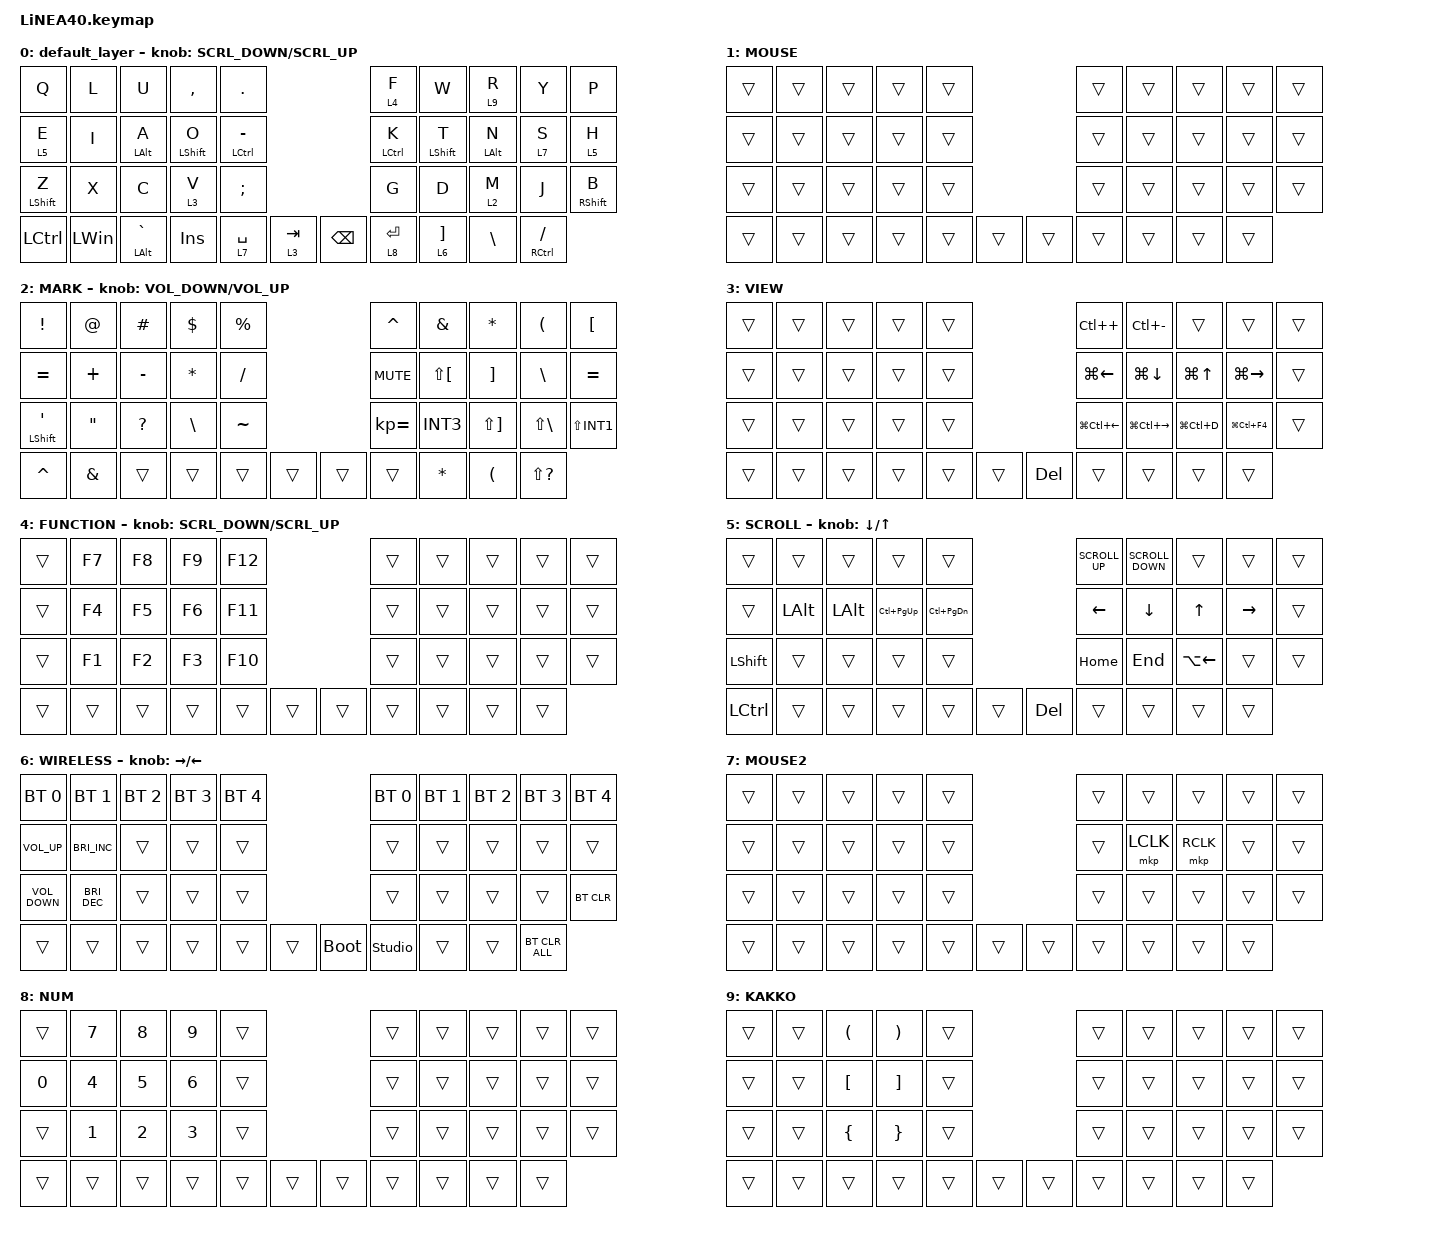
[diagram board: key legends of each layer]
#define ZMK_POINTING_DEFAULT_SCRL_VAL 150

#include <dt-bindings/zmk/input_transform.h>
#include <input/processors.dtsi>
#include <zephyr/dt-bindings/input/input-event-codes.h>
#include <behaviors.dtsi>
#include <dt-bindings/zmk/bt.h>
#include <dt-bindings/zmk/keys.h>
#include <dt-bindings/zmk/pointing.h>

#define MOUSE 1
#define MARK 2
#define CURSOR 3
#define FUNCTION 4
#define SCROLL 5
#define WIRELESS 6

//mouse cursol

&mmv {
    delay-ms = <20>;
    trigger-period-ms = <5>;
    time-to-max-speed-ms = <100>;
    acceleration-exponent = <2>;
};

//mouse scroll

&msc {
    delay-ms = <3>;
    trigger-period-ms = <3>;
    time-to-max-speed-ms = <100>;
    acceleration-exponent = <0>;
};

/ {
    input_processors {
        zip_wheel_scaler: zip_wheel_scaler {
            compatible = "zmk,input-processor-scaler";
            #input-processor-cells = <2>;
            type = <INPUT_EV_REL>;
            codes = <INPUT_REL_WHEEL>;
            track-remainders;
        };
    };
};

&msc_input_listener {
    speed_up {
        layers = <FUNCTION>;
        input-processors = <&zip_wheel_scaler 3 1>; //スクロールを3倍速にする
    };
};

&trackball_listener {
    scroller {
        layers = <SCROLL>;
        input-processors =
            <&zip_xy_transform INPUT_TRANSFORM_Y_INVERT>,
            //スクロール方向を逆転,,,,,,,,,,,,,
            <&zip_xy_to_scroll_mapper>;
    };
};

/ {
    combos {
        compatible = "zmk,combos";

        ZenkakuHankaku {
            bindings = <&kp LANG2>;
            key-positions = <3 2>;
        };

        zenkaku {
            bindings = <&kp LANG1>;
            key-positions = <7 6>;
        };

        esc {
            bindings = <&kp ESCAPE>;
            key-positions = <0 1>;
        };

        leftClick {
            bindings = <&mkp LCLK>;
            key-positions = <17 16>;
        };

        RightClick {
            bindings = <&mkp MB2>;
            key-positions = <18 17>;
        };

        PrevClick {
            bindings = <&mkp MB4>;
            key-positions = <27 28>;
        };

        ClickNext {
            bindings = <&mkp MB5>;
            key-positions = <26 27>;
        };
    };

    behaviors {
        re_kp: sensor_rotate_kp {
            compatible = "zmk,behavior-sensor-rotate-var";
            #sensor-binding-cells = <2>;
            bindings = <&kp>, <&kp>;
        };

        mouse_scrl: mouse_wheel_scrl {
            compatible = "zmk,behavior-sensor-rotate-var";
            #sensor-binding-cells = <2>;
            bindings = <&msc>, <&msc>;

            tap-ms = <20>;
        };

        layer_tap_ori: layer_tap_ori {
            compatible = "zmk,behavior-hold-tap";
            label = "LAYER_TAP_ORI";
            bindings = <&mo>, <&kp>;

            #binding-cells = <2>;
            flavor = "tap-preferred";
            tapping-term-ms = <200>;
        };

        mod_top_ori: mod_top_ori {
            compatible = "zmk,behavior-hold-tap";
            label = "MOD_TOP_ORI";
            bindings = <&kp>, <&kp>;

            #binding-cells = <2>;
            flavor = "tap-preferred";
            tapping-term-ms = <200>;
        };
    };

    keymap {
        compatible = "zmk,keymap";

        default_layer {
            bindings = <
&kp Q                      &kp L         &kp U                    &kp COMMA                  &kp PERIOD                                                   &layer_tap_ori 4 F           &kp W                      &layer_tap_ori 9 R       &kp Y               &kp P
&layer_tap_ori 5 E         &kp I         &mod_top_ori LEFT_ALT A  &mod_top_ori LEFT_SHIFT O  &mod_top_ori LEFT_CONTROL MINUS                              &mod_top_ori LEFT_CONTROL K  &mod_top_ori LEFT_SHIFT T  &mod_top_ori LEFT_ALT N  &layer_tap_ori 7 S  &layer_tap_ori 5 H
&mod_top_ori LEFT_SHIFT Z  &kp X         &kp C                    &layer_tap_ori 3 V         &kp SEMICOLON                                                &kp G                        &kp D                      &layer_tap_ori 2 M       &kp J               &mod_top_ori RIGHT_SHIFT B
&kp LCTRL                  &kp LEFT_WIN  &mt LEFT_ALT GRAVE       &kp INS                    &layer_tap_ori 7 SPACE           &lt 3 TAB    &kp BACKSPACE  &layer_tap_ori 8 ENTER                                  &lt 6 RIGHT_BRACKET      &kp BACKSLASH       &mod_top_ori RIGHT_CONTROL SLASH
            >;

            sensor-bindings = <&mouse_scrl SCRL_DOWN SCRL_UP>;
        };

        //1

        MOUSE {
            bindings = <
&trans  &trans  &trans  &trans  &trans                    &trans  &trans  &trans  &trans  &trans
&trans  &trans  &trans  &trans  &trans                    &trans  &trans  &trans  &trans  &trans
&trans  &trans  &trans  &trans  &trans                    &trans  &trans  &trans  &trans  &trans
&trans  &trans  &trans  &trans  &trans  &trans    &trans  &trans          &trans  &trans  &trans
            >;
        };

        //2

        MARK {
            bindings = <
&kp EXCLAMATION     &kp AT             &kp HASH      &kp DOLLAR     &kp PERCENT                    &kp CARET     &kp AMPERSAND  &kp ASTERISK           &kp LEFT_PARENTHESIS  &kp LBKT
&kp EQUAL           &kp PLUS           &kp MINUS     &kp ASTRK      &kp SLASH                      &kp C_MUTE    &kp LS(LBKT)   &kp RIGHT_BRACKET      &kp BACKSLASH         &kp EQUAL
&mt LEFT_SHIFT SQT  &kp DOUBLE_QUOTES  &kp QUESTION  &kp BACKSLASH  &kp TILDE                      &kp KP_EQUAL  &kp INT3       &kp LS(RIGHT_BRACKET)  &kp LS(BACKSLASH)     &kp LS(INT1)
&kp CARET           &kp AMPERSAND      &trans        &trans         &trans       &trans    &trans  &trans                       &kp ASTERISK           &kp LEFT_PARENTHESIS  &kp LS(QUESTION)
            >;

            sensor-bindings = <&re_kp C_VOLUME_DOWN C_VOLUME_UP>;
        };

        //3

        VIEW {
            bindings = <
&trans  &trans  &trans  &trans  &trans                     &kp LC(PLUS)            &kp LC(MINUS)            &trans            &trans               &trans
&trans  &trans  &trans  &trans  &trans                     &kp LG(LEFT_ARROW)      &kp LG(DOWN_ARROW)       &kp LG(UP_ARROW)  &kp LG(RIGHT_ARROW)  &trans
&trans  &trans  &trans  &trans  &trans                     &kp LG(LC(LEFT_ARROW))  &kp LG(LC(RIGHT_ARROW))  &kp LG(LC(D))     &kp LG(LC(F4))       &trans
&trans  &trans  &trans  &trans  &trans  &trans    &kp DEL  &trans                                           &trans            &trans               &trans
            >;
        };

        //4

        FUNCTION {
            bindings = <
&trans  &kp F7  &kp F8  &kp F9  &kp F12                    &trans  &trans  &trans  &trans  &trans
&trans  &kp F4  &kp F5  &kp F6  &kp F11                    &trans  &trans  &trans  &trans  &trans
&trans  &kp F1  &kp F2  &kp F3  &kp F10                    &trans  &trans  &trans  &trans  &trans
&trans  &trans  &trans  &trans  &trans   &trans    &trans  &trans          &trans  &trans  &trans
            >;

            sensor-bindings = <&mouse_scrl SCRL_DOWN SCRL_UP>;
        };

        //5

        SCROLL {
            bindings = <
&trans            &trans        &trans        &trans           &trans                                   &kp K_SCROLL_UP  &kp K_SCROLL_DOWN  &trans              &trans           &trans
&trans            &kp LEFT_ALT  &kp LEFT_ALT  &kp LC(PAGE_UP)  &kp LC(PAGE_DOWN)                        &kp LEFT_ARROW   &kp DOWN_ARROW     &kp UP_ARROW        &kp RIGHT_ARROW  &trans
&kp LEFT_SHIFT    &trans        &trans        &trans           &trans                                   &kp HOME         &kp END            &kp LA(LEFT_ARROW)  &trans           &trans
&kp LEFT_CONTROL  &trans        &trans        &trans           &trans             &trans    &kp DELETE  &trans                              &trans              &trans           &trans
            >;

            sensor-bindings = <&inc_dec_kp DOWN_ARROW UP_ARROW>;
        };

        //6

        WIRELESS {
            bindings = <
&bt BT_SEL 0       &bt BT_SEL 1          &bt BT_SEL 2  &bt BT_SEL 3  &bt BT_SEL 4                         &bt BT_SEL 0    &bt BT_SEL 1  &bt BT_SEL 2  &bt BT_SEL 3  &bt BT_SEL 4
&kp C_VOLUME_UP    &kp C_BRIGHTNESS_INC  &trans        &trans        &trans                               &trans          &trans        &trans        &trans        &trans
&kp C_VOLUME_DOWN  &kp C_BRIGHTNESS_DEC  &trans        &trans        &trans                               &trans          &trans        &trans        &trans        &bt BT_CLR
&trans             &trans                &trans        &trans        &trans        &trans    &bootloader  &studio_unlock                &trans        &trans        &bt BT_CLR_ALL
            >;

            sensor-bindings = <&inc_dec_kp RIGHT_ARROW LEFT_ARROW>;
        };

        MOUSE2 {
            bindings = <
&trans  &trans  &trans  &trans  &trans                    &trans  &trans     &trans     &trans  &trans
&trans  &trans  &trans  &trans  &trans                    &trans  &mkp LCLK  &mkp RCLK  &trans  &trans
&trans  &trans  &trans  &trans  &trans                    &trans  &trans     &trans     &trans  &trans
&trans  &trans  &trans  &trans  &trans  &trans    &trans  &trans             &trans     &trans  &trans
            >;
        };

        NUM {
            bindings = <
&trans        &kp N7        &kp N8        &kp N9        &trans                    &trans  &trans  &trans  &trans  &trans
&kp NUMBER_0  &kp NUMBER_4  &kp N5        &kp NUMBER_6  &trans                    &trans  &trans  &trans  &trans  &trans
&trans        &kp NUMBER_1  &kp NUMBER_2  &kp NUMBER_3  &trans                    &trans  &trans  &trans  &trans  &trans
&trans        &trans        &trans        &trans        &trans  &trans    &trans  &trans          &trans  &trans  &trans
            >;
        };

        KAKKO {
            bindings = <
&trans  &trans  &kp LEFT_PARENTHESIS  &kp RIGHT_PARENTHESIS  &trans                    &trans  &trans  &trans  &trans  &trans
&trans  &trans  &kp LEFT_BRACKET      &kp RIGHT_BRACKET      &trans                    &trans  &trans  &trans  &trans  &trans
&trans  &trans  &kp LEFT_BRACE        &kp RIGHT_BRACE        &trans                    &trans  &trans  &trans  &trans  &trans
&trans  &trans  &trans                &trans                 &trans  &trans    &trans  &trans          &trans  &trans  &trans
            >;
        };
    };
};
